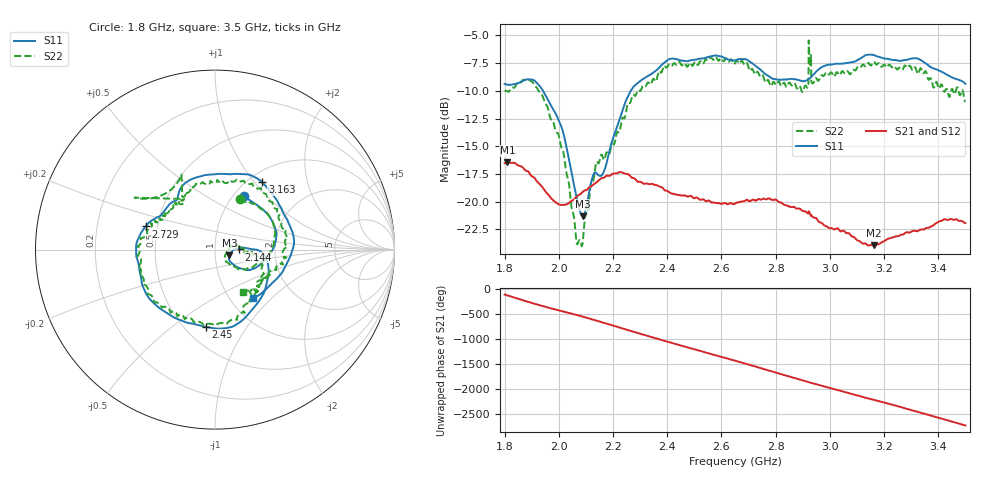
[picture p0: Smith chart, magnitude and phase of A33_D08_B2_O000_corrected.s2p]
! Created with skrf 1.9.0 (http://scikit-rf.org).
# Hz S RI R 50.0
!freq ReS11 ImS11 ReS21 ImS21 ReS12 ImS12 ReS22 ImS22
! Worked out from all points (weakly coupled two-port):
!   1601 points, 1.8 GHz to 3.5 GHz, reference 50 ohm
!   highest |S21| = -16.45 dB at 1.811 GHz (marker M1); lowest = -23.9 dB at 3.162 GHz (marker M2)
!   lowest |S11| = -21.3 dB at 2.089 GHz (marker M3), VSWR 1.19, Z = 58.6 - j3.67 ohm
!   |S11| at or under -10 dB: 1.942 GHz to 2.266 GHz (323.7 MHz wide, 15.4 % of centre)
!   |S22| runs from -24.0 to -5.5 dB; largest |S21 - S12| = 0.0029
!   S11 on the Smith chart (normalised r, x): 1.8 GHz: 1.12, +0.76; 2.144 GHz: 1.31, +0.00; 2.45 GHz: 0.63, -0.67; 2.729 GHz: 0.43, +0.13; 3.163 GHz: 1.16, +1.10; 3.5 GHz: 1.27, -0.77
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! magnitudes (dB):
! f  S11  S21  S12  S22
! 1.8 GHz  -9.4  -16.5  -16.5  -10.1
! 1.811 GHz  -9.4  -16.4  -16.4  -10.0
! 1.885 GHz  -9.0  -17.2  -17.3  -8.9
! 1.94 GHz  -9.9  -18.7  -18.7  -10.5
! 2.011 GHz  -13.4  -20.3  -20.3  -15.2
! 2.065 GHz  -19.5  -19.6  -19.6  -23.5
! 2.084 GHz  -21.2  -19.2  -19.2  -23.9
! 2.089 GHz  -21.3  -19.1  -19.1  -23.5
! 2.125 GHz  -17.7  -18.5  -18.5  -18.2
! 2.144 GHz  -17.6  -18.1  -18.1  -16.5
! 2.168 GHz  -17.2  -17.8  -17.8  -16.2
! 2.264 GHz  -10.0  -17.7  -17.7  -11.0
! 2.367 GHz  -8.0  -18.6  -18.5  -8.3
! 2.45 GHz  -7.3  -19.4  -19.4  -7.6
! 2.65 GHz  -7.2  -20.2  -20.2  -7.5
! 2.729 GHz  -7.8  -19.9  -19.9  -8.4
! 2.899 GHz  -9.1  -20.8  -20.8  -10.1
! 2.934 GHz  -8.7  -21.3  -21.3  -9.3
! 3.162 GHz  -6.8  -23.9  -23.9  -7.4
! 3.163 GHz  -6.8  -23.9  -23.9  -7.4
! 3.217 GHz  -7.1  -23.3  -23.3  -7.7
! 3.5 GHz  -9.4  -21.9  -21.9  -11.0
